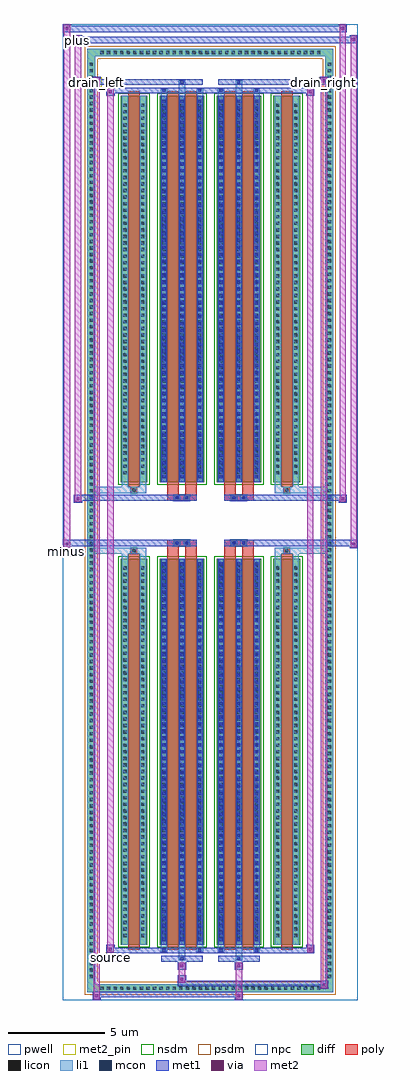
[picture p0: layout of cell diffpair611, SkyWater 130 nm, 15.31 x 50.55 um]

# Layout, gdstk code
import gdstk
lib = gdstk.Library(unit=1e-6, precision=5e-09)
def R(c, l, rs):  # rectangles x0, y0, x1, y1
    for r in rs: c.add(gdstk.rectangle(r[:2], r[2:], *l))
def A(c, l, x, y, w, h, nx, ny, dx, dy):  # array of equal rectangles
    R(c, l, [(x+i*dx, y+j*dy, x+i*dx+w, y+j*dy+h) for i in range(nx) for j in range(ny)])
def P(c, l, *ps):  # polygons
    for p in ps: c.add(gdstk.Polygon(p, *l))
pwell = (64, 44)
diff = (65, 20)
poly = (66, 20)
licon = (66, 44)
li1 = (67, 20)
mcon = (67, 44)
met1 = (68, 20)
via = (68, 44)
met2_pin = (69, 16)
met2 = (69, 20)
nsdm = (93, 44)
psdm = (94, 20)
npc = (95, 20)

diffpair611 = lib.new_cell('diffpair611')
R(diffpair611, pwell, [(-7.64,-24.84,7.64,25.71), (-4.96,-23.03,-0.01,-0.805), (0.01,-23.03,4.96,-0.805), (-4.96,0.805,-0.01,23.03), (0.01,0.805,4.96,23.03)])
A(diffpair611, diff, -5.815, -24.44, 0.41, 0.41, 34, 2, 0.34, 48.47)
A(diffpair611, diff, -6.37, -23.835, 0.41, 0.41, 1, 140, 0, 0.34)
A(diffpair611, diff, 5.96, -23.835, 0.41, 0.41, 1, 140, 0, 0.34)
R(diffpair611, diff, [(-5.815,-24.44,5.815,-24.03), (-6.37,-23.835,-5.96,23.835), (5.96,-23.835,6.37,23.835), (-4.65,-21.985,-3.27,-1.985), (-2.63,-21.985,-0.32,-1.985), (0.32,-21.985,2.63,-1.985), (3.27,-21.985,4.65,-1.985), (-4.65,1.985,-3.27,21.985), (-2.63,1.985,-0.32,21.985), (0.32,1.985,2.63,21.985), (3.27,1.985,4.65,21.985), (-5.815,24.03,5.815,24.44)])
P(diffpair611, diff, [(6.37,24.44),(-6.37,24.44),(-6.37,-24.03),(-5.96,-24.03),(-5.96,24.03),(5.96,24.03),(5.96,-24.03),(-5.96,-24.03),(-6.37,-24.03),(-6.37,-24.44),(6.37,-24.44)])
R(diffpair611, poly, [(-4.26,-22.235,-3.66,-1.735), (-2.24,-22.235,-1.64,-1.735), (-1.31,-22.235,-0.71,-1.735), (0.71,-22.235,1.31,-1.735), (1.64,-22.235,2.24,-1.735), (3.66,-22.235,4.26,-1.735), (-4.125,-1.735,-3.795,-1.405), (-4.125,-1.735,-3.795,-1.405), (-2.24,-1.735,-1.64,-1.335), (-1.31,-1.735,-0.71,-1.335), (0.71,-1.735,1.31,-1.335), (1.64,-1.735,2.24,-1.335), (3.795,-1.735,4.125,-1.405), (3.795,-1.735,4.125,-1.405), (-2.24,-1.335,-0.71,-1.005), (-1.89,-1.335,-1.56,-1.005), (-1.39,-1.335,-1.06,-1.005), (0.71,-1.335,2.24,-1.005), (1.06,-1.335,1.39,-1.005), (1.56,-1.335,1.89,-1.005), (-2.24,1.005,-0.71,1.335), (-1.89,1.005,-1.56,1.335), (-1.39,1.005,-1.06,1.335), (0.71,1.005,2.24,1.335), (1.06,1.005,1.39,1.335), (1.56,1.005,1.89,1.335), (-2.24,1.335,-1.64,1.735), (-1.31,1.335,-0.71,1.735), (0.71,1.335,1.31,1.735), (1.64,1.335,2.24,1.735), (-4.125,1.405,-3.795,1.735), (-4.125,1.405,-3.795,1.735), (3.795,1.405,4.125,1.735), (3.795,1.405,4.125,1.735), (-4.26,1.735,-3.66,22.235), (-2.24,1.735,-1.64,22.235), (-1.31,1.735,-0.71,22.235), (0.71,1.735,1.31,22.235), (1.64,1.735,2.24,22.235), (3.66,1.735,4.26,22.235)])
A(diffpair611, licon, -5.695, -24.32, 0.17, 0.17, 34, 2, 0.34, 48.47)
A(diffpair611, licon, -6.25, -23.715, 0.17, 0.17, 1, 140, 0, 0.34)
A(diffpair611, licon, 6.08, -23.715, 0.17, 0.17, 1, 140, 0, 0.34)
A(diffpair611, licon, -4.51, -21.59, 0.17, 0.17, 1, 57, 0, 0.34)
A(diffpair611, licon, -3.58, -21.59, 0.17, 0.17, 1, 57, 0, 0.34)
A(diffpair611, licon, -2.49, -21.59, 0.17, 0.17, 3, 57, 0.93, 0.34)
A(diffpair611, licon, 0.46, -21.59, 0.17, 0.17, 3, 57, 0.93, 0.34)
A(diffpair611, licon, 3.41, -21.59, 0.17, 0.17, 1, 57, 0, 0.34)
A(diffpair611, licon, 4.34, -21.59, 0.17, 0.17, 1, 57, 0, 0.34)
A(diffpair611, licon, -4.51, 2.38, 0.17, 0.17, 1, 57, 0, 0.34)
A(diffpair611, licon, -3.58, 2.38, 0.17, 0.17, 1, 57, 0, 0.34)
A(diffpair611, licon, -2.49, 2.38, 0.17, 0.17, 3, 57, 0.93, 0.34)
A(diffpair611, licon, 0.46, 2.38, 0.17, 0.17, 3, 57, 0.93, 0.34)
A(diffpair611, licon, 3.41, 2.38, 0.17, 0.17, 1, 57, 0, 0.34)
A(diffpair611, licon, 4.34, 2.38, 0.17, 0.17, 1, 57, 0, 0.34)
R(diffpair611, licon, [(-4.045,-1.655,-3.875,-1.485), (3.875,-1.655,4.045,-1.485), (-1.81,-1.255,-1.64,-1.085), (-1.31,-1.255,-1.14,-1.085), (1.14,-1.255,1.31,-1.085), (1.64,-1.255,1.81,-1.085), (-1.81,1.085,-1.64,1.255), (-1.31,1.085,-1.14,1.255), (1.14,1.085,1.31,1.255), (1.64,1.085,1.81,1.255), (-4.045,1.485,-3.875,1.655), (3.875,1.485,4.045,1.655)])
A(diffpair611, li1, -5.775, -24.4, 0.33, 0.33, 34, 2, 0.34, 48.47)
A(diffpair611, li1, -6.33, -23.795, 0.33, 0.33, 1, 140, 0, 0.34)
A(diffpair611, li1, 6, -23.795, 0.33, 0.33, 1, 140, 0, 0.34)
A(diffpair611, li1, -2.57, -21.985, 0.33, 20, 3, 2, 0.93, 23.97)
A(diffpair611, li1, 0.38, -21.985, 0.33, 20, 3, 2, 0.93, 23.97)
A(diffpair611, li1, -2.49, -21.79, 0.17, 0.17, 3, 55, 0.93, 0.36)
A(diffpair611, li1, -2.49, -21.79, 0.17, 19.61, 3, 2, 0.93, 23.97)
A(diffpair611, li1, 0.46, -21.79, 0.17, 0.17, 3, 55, 0.93, 0.36)
A(diffpair611, li1, 0.46, -21.79, 0.17, 19.61, 3, 2, 0.93, 23.97)
A(diffpair611, li1, -4.59, -21.67, 0.33, 0.33, 1, 57, 0, 0.34)
A(diffpair611, li1, -3.66, -21.67, 0.33, 0.33, 1, 57, 0, 0.34)
A(diffpair611, li1, -2.57, -21.67, 0.33, 0.33, 3, 57, 0.93, 0.34)
A(diffpair611, li1, 0.38, -21.67, 0.33, 0.33, 3, 57, 0.93, 0.34)
A(diffpair611, li1, 3.33, -21.67, 0.33, 0.33, 1, 57, 0, 0.34)
A(diffpair611, li1, 4.26, -21.67, 0.33, 0.33, 1, 57, 0, 0.34)
A(diffpair611, li1, -2.49, 2.18, 0.17, 0.17, 3, 55, 0.93, 0.36)
A(diffpair611, li1, 0.46, 2.18, 0.17, 0.17, 3, 55, 0.93, 0.36)
A(diffpair611, li1, -4.59, 2.3, 0.33, 0.33, 1, 57, 0, 0.34)
A(diffpair611, li1, -3.66, 2.3, 0.33, 0.33, 1, 57, 0, 0.34)
A(diffpair611, li1, -2.57, 2.3, 0.33, 0.33, 3, 57, 0.93, 0.34)
A(diffpair611, li1, 0.38, 2.3, 0.33, 0.33, 3, 57, 0.93, 0.34)
A(diffpair611, li1, 3.33, 2.3, 0.33, 0.33, 1, 57, 0, 0.34)
A(diffpair611, li1, 4.26, 2.3, 0.33, 0.33, 1, 57, 0, 0.34)
R(diffpair611, li1, [(-6.37,-24.44,-5.96,-24.03), (-6.37,-24.44,-5.96,-24.03), (-5.96,-24.44,5.96,-24.03), (5.96,-24.44,6.37,-24.03), (5.96,-24.44,6.37,-24.03), (-6.37,-24.03,-5.96,24.03), (5.96,-24.03,6.37,24.03), (-1.64,-22.79,-1.31,-21.985), (-1.56,-22.79,-1.39,-22.62), (1.31,-22.79,1.64,-21.985), (1.39,-22.79,1.56,-22.62), (-2.57,-22.36,-2.24,-21.985), (-2.49,-22.36,-2.32,-22.19), (-0.71,-22.36,-0.38,-21.985), (-0.63,-22.36,-0.46,-22.19), (0.38,-22.36,0.71,-21.985), (0.46,-22.36,0.63,-22.19), (2.24,-22.36,2.57,-21.985), (2.32,-22.36,2.49,-22.19), (-4.59,-21.985,-4.26,-1.985), (-3.66,-21.985,-3.33,-1.985), (3.33,-21.985,3.66,-1.985), (4.26,-21.985,4.59,-1.985), (-4.59,-1.985,-4.26,-1.405), (-3.66,-1.985,-3.33,-1.405), (3.33,-1.985,3.66,-1.405), (4.26,-1.985,4.59,-1.405), (-6.37,-1.735,-4.125,-1.405), (-4.59,-1.735,-4.125,-1.405), (-4.125,-1.735,-3.795,-1.405), (-3.795,-1.735,-3.33,-1.405), (3.33,-1.735,3.795,-1.405), (3.795,-1.735,4.125,-1.405), (3.795,-1.735,6.37,-1.405), (4.125,-1.735,4.59,-1.405), (-1.89,-1.335,-1.56,-1.005), (-1.39,-1.335,-1.06,-1.005), (1.06,-1.335,1.39,-1.005), (1.56,-1.335,1.89,-1.005), (-1.89,1.005,-1.56,1.335), (-1.39,1.005,-1.06,1.335), (1.06,1.005,1.39,1.335), (1.56,1.005,1.89,1.335), (-6.37,1.405,-4.125,1.735), (-4.59,1.405,-4.125,1.735), (-4.59,1.405,-4.26,1.985), (-4.125,1.405,-3.795,1.735), (-3.795,1.405,-3.33,1.735), (-3.66,1.405,-3.33,1.985), (3.33,1.405,3.795,1.735), (3.33,1.405,3.66,1.985), (3.795,1.405,4.125,1.735), (3.795,1.405,6.37,1.735), (4.125,1.405,4.59,1.735), (4.26,1.405,4.59,1.985), (-4.59,1.985,-4.26,21.985), (-3.66,1.985,-3.33,21.985), (3.33,1.985,3.66,21.985), (4.26,1.985,4.59,21.985), (-2.57,21.985,-2.24,22.36), (-1.64,21.985,-1.31,22.79), (-0.71,21.985,-0.38,22.36), (0.38,21.985,0.71,22.36), (1.31,21.985,1.64,22.79), (2.24,21.985,2.57,22.36), (-2.49,22.19,-2.32,22.36), (-0.63,22.19,-0.46,22.36), (0.46,22.19,0.63,22.36), (2.32,22.19,2.49,22.36), (-1.56,22.62,-1.39,22.79), (1.39,22.62,1.56,22.79), (-6.37,24.03,-5.96,24.44), (-6.37,24.03,-5.96,24.44), (-5.96,24.03,5.96,24.44), (5.96,24.03,6.37,24.44), (5.96,24.03,6.37,24.44)])
A(diffpair611, mcon, -2.49, -21.79, 0.17, 0.17, 3, 55, 0.93, 0.36)
A(diffpair611, mcon, 0.46, -21.79, 0.17, 0.17, 3, 55, 0.93, 0.36)
A(diffpair611, mcon, -2.49, 2.18, 0.17, 0.17, 3, 55, 0.93, 0.36)
A(diffpair611, mcon, 0.46, 2.18, 0.17, 0.17, 3, 55, 0.93, 0.36)
R(diffpair611, mcon, [(-1.56,-22.79,-1.39,-22.62), (1.39,-22.79,1.56,-22.62), (-2.49,-22.36,-2.32,-22.19), (-0.63,-22.36,-0.46,-22.19), (0.46,-22.36,0.63,-22.19), (2.32,-22.36,2.49,-22.19), (-1.81,-1.255,-1.64,-1.085), (-1.31,-1.255,-1.14,-1.085), (1.14,-1.255,1.31,-1.085), (1.64,-1.255,1.81,-1.085), (-1.81,1.085,-1.64,1.255), (-1.31,1.085,-1.14,1.255), (1.14,1.085,1.31,1.255), (1.64,1.085,1.81,1.255), (-2.49,22.19,-2.32,22.36), (-0.63,22.19,-0.46,22.36), (0.46,22.19,0.63,22.36), (2.32,22.19,2.49,22.36), (-1.56,22.62,-1.39,22.79), (1.39,22.62,1.56,22.79)])
A(diffpair611, met1, -2.55, -21.985, 0.29, 20, 3, 2, 0.93, 23.97)
A(diffpair611, met1, 0.4, -21.985, 0.29, 20, 3, 2, 0.93, 23.97)
A(diffpair611, met1, -2.55, -21.85, 0.29, 0.29, 3, 55, 0.93, 0.36)
A(diffpair611, met1, 0.4, -21.85, 0.29, 0.29, 3, 55, 0.93, 0.36)
A(diffpair611, met1, -2.55, 2.12, 0.29, 0.29, 3, 55, 0.93, 0.36)
A(diffpair611, met1, 0.4, 2.12, 0.29, 0.29, 3, 55, 0.93, 0.36)
R(diffpair611, met1, [(-6.1,-24.84,-5.67,-24.41), (1.26,-24.84,1.69,-24.41), (-6.1,-24.7,1.69,-24.41), (5.67,-24.27,6.1,-23.84), (-1.69,-24.13,6.1,-23.84), (-1.69,-23.99,-1.26,-23.56), (-1.69,-23.28,-1.26,-22.85), (1.26,-23.28,1.69,-22.85), (-2.55,-22.85,-0.4,-22.56), (-1.62,-22.85,-1.33,-22.56), (0.4,-22.85,2.55,-22.56), (1.33,-22.85,1.62,-22.56), (-5.39,-22.42,-4.96,-21.99), (-5.39,-22.42,-2.55,-22.13), (-2.55,-22.42,-2.26,-22.13), (-2.55,-22.42,-0.4,-22.13), (-0.69,-22.42,-0.4,-22.13), (-0.4,-22.42,0.4,-22.13), (0.4,-22.42,0.69,-22.13), (0.4,-22.42,2.55,-22.13), (2.26,-22.42,2.55,-22.13), (2.55,-22.42,5.39,-22.13), (4.96,-22.42,5.39,-21.99), (-7.64,-1.435,-7.21,-1.005), (7.21,-1.435,7.64,-1.005), (-7.64,-1.335,-0.71,-1.005), (-2.24,-1.335,-0.71,-1.005), (0.71,-1.335,2.24,-1.005), (0.71,-1.335,7.64,-1.005), (-1.87,-1.315,-1.58,-1.025), (-1.37,-1.315,-1.08,-1.025), (1.08,-1.315,1.37,-1.025), (1.58,-1.315,1.87,-1.025), (-7.07,0.905,-6.64,1.335), (6.64,0.905,7.07,1.335), (-7.07,1.005,-2.24,1.335), (-2.24,1.005,-0.71,1.335), (0.71,1.005,2.24,1.335), (2.24,1.005,7.07,1.335), (-1.87,1.025,-1.58,1.315), (-1.37,1.025,-1.08,1.315), (1.08,1.025,1.37,1.315), (1.58,1.025,1.87,1.315), (-5.39,21.99,-4.96,22.42), (4.96,21.99,5.39,22.42), (-5.39,22.13,-2.55,22.42), (-2.55,22.13,-2.26,22.42), (-2.55,22.13,-0.4,22.42), (-0.69,22.13,-0.4,22.42), (-0.4,22.13,0.4,22.42), (0.4,22.13,0.69,22.42), (0.4,22.13,2.55,22.42), (2.26,22.13,2.55,22.42), (2.55,22.13,5.39,22.42), (-6.1,22.56,-5.67,22.99), (-6.1,22.56,-2.55,22.85), (-2.55,22.56,-0.4,22.85), (-1.62,22.56,-1.33,22.85), (0.4,22.56,2.55,22.85), (1.33,22.56,1.62,22.85), (2.55,22.56,6.1,22.85), (5.67,22.56,6.1,22.99), (-7.07,24.71,-6.64,25.14), (-7.07,24.71,-4.96,25.04), (-4.96,24.71,4.96,25.04), (4.96,24.71,7.64,25.04), (7.21,24.71,7.64,25.14), (-7.64,25.28,-7.21,25.71), (-7.64,25.28,-4.96,25.61), (-4.96,25.28,4.96,25.61), (4.96,25.28,7.07,25.61), (6.64,25.28,7.07,25.71)])
R(diffpair611, via, [(-5.96,-24.7,-5.81,-24.55), (1.4,-24.7,1.55,-24.55), (5.81,-24.13,5.96,-23.98), (-1.55,-23.85,-1.4,-23.7), (-1.55,-23.14,-1.4,-22.99), (1.4,-23.14,1.55,-22.99), (-5.25,-22.28,-5.1,-22.13), (5.1,-22.28,5.25,-22.13), (-7.5,-1.295,-7.35,-1.145), (7.35,-1.295,7.5,-1.145), (-6.93,1.045,-6.78,1.195), (6.78,1.045,6.93,1.195), (-5.25,22.13,-5.1,22.28), (5.1,22.13,5.25,22.28), (-5.96,22.7,-5.81,22.85), (5.81,22.7,5.96,22.85), (-6.93,24.85,-6.78,25), (7.35,24.85,7.5,25), (-7.5,25.42,-7.35,25.57), (6.78,25.42,6.93,25.57)])
R(diffpair611, met2_pin, [(-5.425,-22.87,-4.925,-22.37), (-7.675,-1.885,-7.175,-1.385), (-6.135,22.44,-5.635,22.94), (5.635,22.44,6.135,22.94), (-7.105,24.59,-6.605,25.09)])
R(diffpair611, met2, [(-6.05,-24.79,-5.72,-24.46), (-6.05,-24.79,-5.72,22.94), (1.31,-24.79,1.64,-24.46), (1.31,-24.46,1.64,-23.23), (5.72,-24.22,6.05,-23.89), (5.72,-24.22,6.05,22.94), (-1.64,-23.94,-1.31,-23.61), (-1.64,-23.61,-1.31,-23.23), (-1.64,-23.23,-1.31,-22.9), (1.31,-23.23,1.64,-22.9), (-5.34,-22.37,-5.01,-22.04), (-5.34,-22.37,-5.01,22.37), (5.01,-22.37,5.34,-22.04), (5.01,-22.37,5.34,22.37), (-7.59,-1.385,-7.26,-1.055), (-7.59,-1.385,-7.26,25.66), (7.26,-1.385,7.59,-1.055), (7.26,-1.385,7.59,25.09), (-7.02,0.955,-6.69,1.285), (-7.02,0.955,-6.69,25.09), (6.69,0.955,7.02,1.285), (6.69,0.955,7.02,25.66), (-5.34,22.04,-5.01,22.37), (5.01,22.04,5.34,22.37), (-6.05,22.61,-5.72,22.94), (5.72,22.61,6.05,22.94), (-7.02,24.76,-6.69,25.09), (7.26,24.76,7.59,25.09), (-7.59,25.33,-7.26,25.66), (6.69,25.33,7.02,25.66)])
P(diffpair611, met2, [(7.59,-1.385),(7.59,-1.385),(7.59,-1.055),(7.59,-1.055)],
  [(7.59,24.76),(7.59,24.76),(7.59,25.09),(7.59,25.09)],
  [(-7.26,-1.385),(-7.26,-1.385),(-7.26,-1.055),(-7.26,-1.055)],
  [(-7.26,25.33),(-7.26,25.33),(-7.26,25.66),(-7.26,25.66)],
  [(7.02,0.955),(7.02,0.955),(7.02,1.285),(7.02,1.285)],
  [(7.02,25.33),(7.02,25.33),(7.02,25.66),(7.02,25.66)],
  [(-6.69,0.955),(-6.69,0.955),(-6.69,1.285),(-6.69,1.285)],
  [(-6.69,24.76),(-6.69,24.76),(-6.69,25.09),(-6.69,25.09)],
  [(-5.72,-24.79),(-5.72,-24.79),(-5.72,-24.46),(-5.72,-24.46)],
  [(-5.72,22.61),(-5.72,22.61),(-5.72,22.94),(-5.72,22.94)],
  [(6.05,-24.22),(6.05,-24.22),(6.05,-23.89),(6.05,-23.89)],
  [(6.05,22.61),(6.05,22.61),(6.05,22.94),(6.05,22.94)],
  [(-5.01,-22.37),(-5.01,-22.37),(-5.01,-22.04),(-5.01,-22.04)],
  [(-5.01,22.04),(-5.01,22.04),(-5.01,22.37),(-5.01,22.37)],
  [(5.34,-22.37),(5.34,-22.37),(5.34,-22.04),(5.34,-22.04)],
  [(5.34,22.04),(5.34,22.04),(5.34,22.37),(5.34,22.37)])
R(diffpair611, nsdm, [(-4.78,-22.115,-3.14,-1.855), (-2.76,-22.115,-0.19,-1.855), (0.19,-22.115,2.76,-1.855), (3.14,-22.115,4.78,-1.855), (-4.78,1.855,-3.14,22.115), (-2.76,1.855,-0.19,22.115), (0.19,1.855,2.76,22.115), (3.14,1.855,4.78,22.115)])
P(diffpair611, psdm, [(6.5,24.57),(-6.5,24.57),(-6.5,-23.9),(-5.83,-23.9),(-5.83,23.9),(5.83,23.9),(5.83,-23.9),(-5.83,-23.9),(-6.5,-23.9),(-6.5,-24.57),(6.5,-24.57)])
R(diffpair611, npc, [(-4.145,-1.755,-3.775,-1.385), (3.775,-1.755,4.145,-1.385), (-1.91,-1.355,-1.54,-0.985), (-1.91,-1.355,-1.04,-0.985), (-1.91,-1.355,-1.04,-0.985), (-1.41,-1.355,-1.04,-0.985), (1.04,-1.355,1.41,-0.985), (1.04,-1.355,1.91,-0.985), (1.04,-1.355,1.91,-0.985), (1.54,-1.355,1.91,-0.985), (-1.91,0.985,-1.54,1.355), (-1.91,0.985,-1.04,1.355), (-1.91,0.985,-1.04,1.355), (-1.41,0.985,-1.04,1.355), (1.04,0.985,1.41,1.355), (1.04,0.985,1.91,1.355), (1.04,0.985,1.91,1.355), (1.54,0.985,1.91,1.355), (-4.145,1.385,-3.775,1.755), (3.775,1.385,4.145,1.755)])
diffpair611.add(gdstk.Label('minus', (-7.425,-1.635), layer=69, texttype=5))
diffpair611.add(gdstk.Label('drain_right', (5.885,22.69), layer=69, texttype=5))
diffpair611.add(gdstk.Label('drain_left', (-5.885,22.69), layer=69, texttype=5))
diffpair611.add(gdstk.Label('source', (-5.175,-22.62), layer=69, texttype=5))
diffpair611.add(gdstk.Label('plus', (-6.855,24.84), layer=69, texttype=5))

lib.write_gds('diffpair611.gds')
